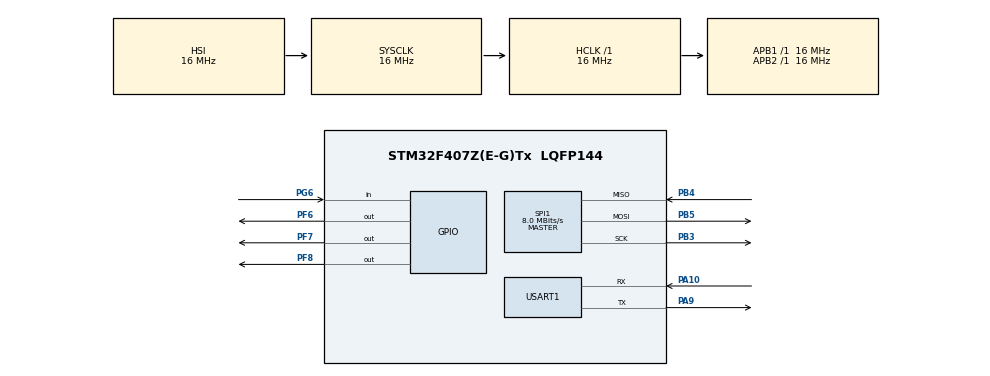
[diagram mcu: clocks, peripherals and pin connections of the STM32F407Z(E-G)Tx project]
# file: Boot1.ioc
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FREERTOS.Tasks01=defaultTask,24,128,StartDefaultTask,Default,NULL,Dynamic,NULL,NULL
IWDG.Prescaler=IWDG_PRESCALER_32
Mcu.Family=STM32F4
Mcu.Name=STM32F407Z(E-G)Tx
Mcu.Package=LQFP144
NVIC.PriorityGroup=NVIC_PRIORITYGROUP_4
NVIC.TIM4_IRQn=true\:15\:0\:false\:false\:true\:false\:false\:true\:true
NVIC.TimeBase=TIM4_IRQn
NVIC.TimeBaseIP=TIM4
PA10.Mode=Asynchronous
PA10.Signal=USART1_RX
PA13.Mode=Serial_Wire
PA13.Signal=SYS_JTMS-SWDIO
PA14.Mode=Serial_Wire
PA14.Signal=SYS_JTCK-SWCLK
PA9.Mode=Asynchronous
PA9.Signal=USART1_TX
PB3.Mode=Full_Duplex_Master
PB3.Signal=SPI1_SCK
PB4.Mode=Full_Duplex_Master
PB4.Signal=SPI1_MISO
PB5.Mode=Full_Duplex_Master
PB5.Signal=SPI1_MOSI
PF6.Signal=GPIO_Output
PF7.Signal=GPIO_Output
PF8.Signal=GPIO_Output
PG6.Signal=GPIO_Input
PH0-OSC_IN.Mode=HSE-External-Oscillator
PH0-OSC_IN.Signal=RCC_OSC_IN
PH1-OSC_OUT.Mode=HSE-External-Oscillator
PH1-OSC_OUT.Signal=RCC_OSC_OUT
ProjectManager.HeapSize=0x200
ProjectManager.StackSize=0x400
ProjectManager.TargetToolchain=MDK-ARM V5.32
RCC.AHBFreq_Value=16000000
RCC.APB1Freq_Value=16000000
RCC.APB2Freq_Value=16000000
RCC.CortexFreq_Value=16000000
RCC.HSE_VALUE=25000000
RCC.HSI_VALUE=16000000
RCC.LSE_VALUE=32768
RCC.SYSCLKFreq_VALUE=16000000
RCC.VCOOutputFreq_Value=192000000
SPI1.CalculateBaudRate=8.0 MBits/s
SPI1.Direction=SPI_DIRECTION_2LINES
SPI1.Mode=SPI_MODE_MASTER
SPI1.VirtualType=VM_MASTER
USART1.VirtualMode=VM_ASYNC
VP_FREERTOS_VS_CMSIS_V2.Mode=CMSIS_V2
VP_IWDG_VS_IWDG.Mode=IWDG_Activate
VP_RTC_VS_RTC_Activate.Mode=RTC_Enabled
VP_SYS_VS_tim4.Mode=TIM4
board=custom

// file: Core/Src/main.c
/* USER CODE BEGIN Header */
/**
  ******************************************************************************
  * @file           : main.c
  * @brief          : Main program body
  ******************************************************************************
  * @attention
  *
  * Copyright (c) 2026 STMicroelectronics.
  * All rights reserved.
  *
  * This software is licensed under terms that can be found in the LICENSE file
  * in the root directory of this software component.
  * If no LICENSE file comes with this software, it is provided AS-IS.
  *
  ******************************************************************************
  */
/* USER CODE END Header */
#include "main.h"
#include "cmsis_os.h"
#include "iwdg.h"
#include "rtc.h"
#include "spi.h"
#include "usart.h"
#include "gpio.h"

void SystemClock_Config(void);
void MX_FREERTOS_Init(void);
/* USER CODE BEGIN PFP */
extern RTC_HandleTypeDef hrtc;
/* USER CODE END PFP */

/* USER CODE BEGIN 0 */

void App_Valid(void)
{
	HAL_PWR_EnableBkUpAccess();//开启备份域访问

	HAL_RTCEx_BKUPWrite(&hrtc,RTC_BKP_DR1,0xA5A55A5A);

}
/* USER CODE END 0 */

int main(void)
{

  /* MCU Configuration--------------------------------------------------------*/

  /* Reset of all peripherals, Initializes the Flash interface and the Systick. */
  HAL_Init();

  /* Configure the system clock */
  SystemClock_Config();

  /* Initialize all configured peripherals */
  MX_GPIO_Init();
  MX_IWDG_Init();
  MX_USART1_UART_Init();
  MX_SPI1_Init();
  MX_RTC_Init();
  /* USER CODE BEGIN 2 */
  __enable_irq();   // 关键：把全局中断打开
	  HAL_GPIO_WritePin(GPIOF, GPIO_PIN_6|GPIO_PIN_7|GPIO_PIN_8, GPIO_PIN_SET);
  /* USER CODE END 2 */

  /* Init scheduler */
  osKernelInitialize();  /* Call init function for freertos objects (in cmsis_os2.c) */
  MX_FREERTOS_Init();

  /* Start scheduler */
  osKernelStart();

  /* We should never get here as control is now taken by the scheduler */

  /* Infinite loop */
  while (1)
  {

  }
}

void SystemClock_Config(void)
{
  RCC_OscInitTypeDef RCC_OscInitStruct = {0};
  RCC_ClkInitTypeDef RCC_ClkInitStruct = {0};

  /** Configure the main internal regulator output voltage
  */
  __HAL_RCC_PWR_CLK_ENABLE();
  __HAL_PWR_VOLTAGESCALING_CONFIG(PWR_REGULATOR_VOLTAGE_SCALE1);

  /** Initializes the RCC Oscillators according to the specified parameters
  * in the RCC_OscInitTypeDef structure.
  */
  RCC_OscInitStruct.OscillatorType = RCC_OSCILLATORTYPE_HSI|RCC_OSCILLATORTYPE_LSI;
  RCC_OscInitStruct.HSIState = RCC_HSI_ON;
  RCC_OscInitStruct.HSICalibrationValue = RCC_HSICALIBRATION_DEFAULT;
  RCC_OscInitStruct.LSIState = RCC_LSI_ON;
  RCC_OscInitStruct.PLL.PLLState = RCC_PLL_NONE;
  if (HAL_RCC_OscConfig(&RCC_OscInitStruct) != HAL_OK)
  {
    Error_Handler();
  }

  /** Initializes the CPU, AHB and APB buses clocks
  */
  RCC_ClkInitStruct.ClockType = RCC_CLOCKTYPE_HCLK|RCC_CLOCKTYPE_SYSCLK
                              |RCC_CLOCKTYPE_PCLK1|RCC_CLOCKTYPE_PCLK2;
  RCC_ClkInitStruct.SYSCLKSource = RCC_SYSCLKSOURCE_HSI;
  RCC_ClkInitStruct.AHBCLKDivider = RCC_SYSCLK_DIV1;
  RCC_ClkInitStruct.APB1CLKDivider = RCC_HCLK_DIV1;
  RCC_ClkInitStruct.APB2CLKDivider = RCC_HCLK_DIV1;

  if (HAL_RCC_ClockConfig(&RCC_ClkInitStruct, FLASH_LATENCY_0) != HAL_OK)
  {
    Error_Handler();
  }
}

void HAL_TIM_PeriodElapsedCallback(TIM_HandleTypeDef *htim)
{
  if (htim->Instance == TIM4)
  {
    HAL_IncTick();
  }
}

void Error_Handler(void)
{
  __disable_irq();
  while (1)
  {
  }
}

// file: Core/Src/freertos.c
/* USER CODE BEGIN Header */
/**
  ******************************************************************************
  * File Name          : freertos.c
  * Description        : Code for freertos applications
  ******************************************************************************
  * @attention
  *
  * Copyright (c) 2026 STMicroelectronics.
  * All rights reserved.
  *
  * This software is licensed under terms that can be found in the LICENSE file
  * in the root directory of this software component.
  * If no LICENSE file comes with this software, it is provided AS-IS.
  *
  ******************************************************************************
  */
/* USER CODE END Header */

#include "FreeRTOS.h"
#include "task.h"
#include "main.h"
#include "cmsis_os.h"

/* USER CODE BEGIN PTD */
extern IWDG_HandleTypeDef hiwdg;
extern UART_HandleTypeDef huart1;

extern void App_Valid(void);

static uint8_t Count=0;
/* USER CODE END PTD */

/* Definitions for defaultTask */
osThreadId_t defaultTaskHandle;
const osThreadAttr_t defaultTask_attributes = {
  .name = "defaultTask",
  .stack_size = 128 * 4,
  .priority = (osPriority_t) osPriorityNormal,
};

/* USER CODE BEGIN FunctionPrototypes */
void LcdTask(void *params)
{
	osDelay(250);
	while(1)
	{
	HAL_GPIO_WritePin(GPIOF, GPIO_PIN_6|GPIO_PIN_8, GPIO_PIN_RESET); // ��
     osDelay(200);
    HAL_GPIO_WritePin(GPIOF, GPIO_PIN_6|GPIO_PIN_8, GPIO_PIN_SET);   // ��
     osDelay(500);

		HAL_UART_Transmit(&huart1,(uint8_t *)"Task2 is done.",15,10);
	}

}
/* USER CODE END FunctionPrototypes */

void StartDefaultTask(void *argument);

void MX_FREERTOS_Init(void); /* (MISRA C 2004 rule 8.1) */

void MX_FREERTOS_Init(void) {

  /* Create the thread(s) */
  /* creation of defaultTask */
  defaultTaskHandle = osThreadNew(StartDefaultTask, NULL, &defaultTask_attributes);

  /* USER CODE BEGIN RTOS_THREADS */
  /* add threads, ... */
	xTaskCreate(LcdTask,"6/8Lcd",128,NULL,osPriorityNormal,NULL);
  /* USER CODE END RTOS_THREADS */

}

void StartDefaultTask(void *argument)
{
  /* USER CODE BEGIN StartDefaultTask */
  /* Infinite loop */
  for(;;)
  {
		HAL_IWDG_Refresh(&hiwdg);

		if(Count<5)
		{
			Count++;
			if(Count==5)
			{
			App_Valid();

		}
	}

		HAL_GPIO_WritePin(GPIOF, GPIO_PIN_7, GPIO_PIN_RESET);
     vTaskDelay(500);
    HAL_GPIO_WritePin(GPIOF, GPIO_PIN_7, GPIO_PIN_SET);
     vTaskDelay(200);

		HAL_UART_Transmit(&huart1,(uint8_t *)"Task1 is done.",15,10);
  }
  /* USER CODE END StartDefaultTask */
}
